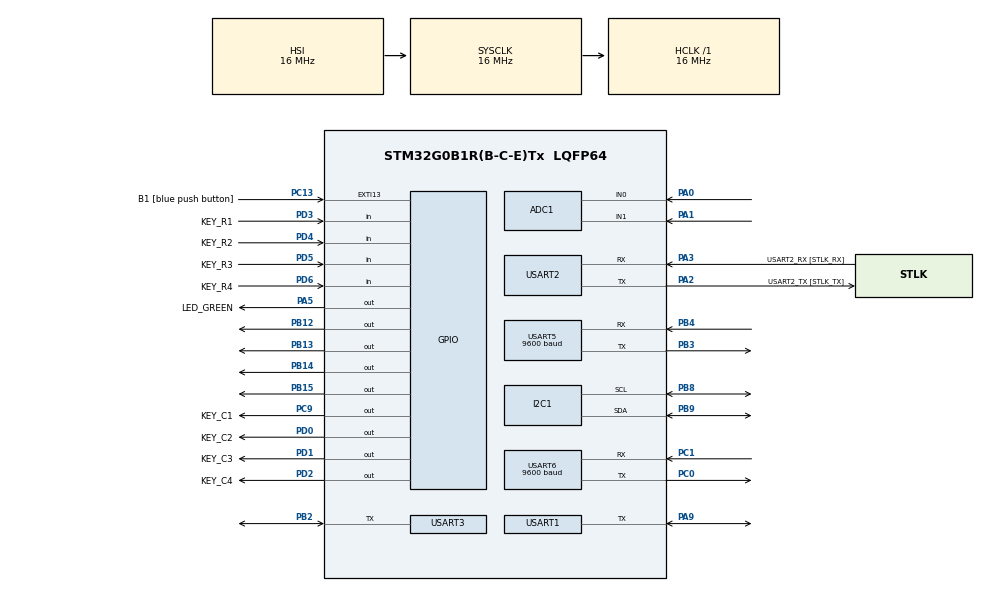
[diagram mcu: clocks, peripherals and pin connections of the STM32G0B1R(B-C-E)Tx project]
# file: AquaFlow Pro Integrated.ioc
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ADC1.Channel-0\#ChannelRegularConversion=ADC_CHANNEL_0
ADC1.Channel-1\#ChannelRegularConversion=ADC_CHANNEL_1
ADC1.ContinuousConvMode=ENABLE
ADC1.DMAContinuousRequests=ENABLE
ADC1.NbrOfConversion=2
ADC1.NbrOfConversionFlag=1
ADC1.Rank-0\#ChannelRegularConversion=1
ADC1.Rank-1\#ChannelRegularConversion=2
ADC1.SamplingTime-0\#ChannelRegularConversion=ADC_SAMPLINGTIME_COMMON_1
ADC1.SamplingTime-1\#ChannelRegularConversion=ADC_SAMPLINGTIME_COMMON_1
ADC1.SelectedChannel=ADC_CHANNEL_0|ADC_CHANNEL_1
ADC1.master=1
Dma.ADC1.0.Direction=DMA_PERIPH_TO_MEMORY
Dma.ADC1.0.EventEnable=DISABLE
Dma.ADC1.0.Instance=DMA1_Channel1
Dma.ADC1.0.MemDataAlignment=DMA_MDATAALIGN_HALFWORD
Dma.ADC1.0.MemInc=DMA_MINC_ENABLE
Dma.ADC1.0.Mode=DMA_CIRCULAR
Dma.ADC1.0.PeriphDataAlignment=DMA_PDATAALIGN_HALFWORD
Dma.ADC1.0.PeriphInc=DMA_PINC_DISABLE
Dma.ADC1.0.Polarity=HAL_DMAMUX_REQ_GEN_RISING
Dma.ADC1.0.Priority=DMA_PRIORITY_MEDIUM
Dma.ADC1.0.RequestNumber=1
Dma.ADC1.0.SignalID=NONE
Dma.ADC1.0.SyncEnable=DISABLE
Dma.ADC1.0.SyncPolarity=HAL_DMAMUX_SYNC_NO_EVENT
Dma.ADC1.0.SyncRequestNumber=1
Dma.ADC1.0.SyncSignalID=NONE
Dma.Request0=ADC1
I2C1.Speed=40
I2C1.Timing=0x005086FF
Mcu.Family=STM32G0
Mcu.Name=STM32G0B1R(B-C-E)Tx
Mcu.Package=LQFP64
NVIC.TIM2_IRQn=true\:0\:0\:false\:false\:true\:true\:true\:true
PA0.Mode=IN0
PA0.Signal=ADC1_IN0
PA1.Mode=IN1
PA1.Signal=ADC1_IN1
PA13.GPIO_Label=TMS
PA13.Mode=Serial_Wire
PA13.Signal=SYS_SWDIO
PA14-BOOT0.GPIO_Label=TCK
PA14-BOOT0.Mode=Serial_Wire
PA14-BOOT0.Signal=SYS_SWCLK
PA2.GPIO_Label=USART2_TX [STLK_TX]
PA2.Mode=Asynchronous
PA2.Signal=USART2_TX
PA3.GPIO_Label=USART2_RX [STLK_RX]
PA3.Mode=Asynchronous
PA3.Signal=USART2_RX
PA5.GPIO_Label=LED_GREEN
PA5.GPIO_Speed=GPIO_SPEED_FREQ_HIGH
PA5.Signal=GPIO_Output
PA9.Mode=Half_duplex(single_wire_mode)
PA9.Signal=USART1_TX
PB12.Signal=GPIO_Output
PB13.Signal=GPIO_Output
PB14.Signal=GPIO_Output
PB15.Signal=GPIO_Output
PB2.Mode=Half_duplex(single_wire_mode)
PB2.Signal=USART3_TX
PB3.Mode=Asynchronous
PB3.Signal=USART5_TX
PB4.Mode=Asynchronous
PB4.Signal=USART5_RX
PB8.Mode=I2C
PB8.Signal=I2C1_SCL
PB9.Mode=I2C
PB9.Signal=I2C1_SDA
PC0.Mode=Asynchronous
PC0.Signal=USART6_TX
PC1.Mode=Asynchronous
PC1.Signal=USART6_RX
PC13.GPIO_Label=B1 [blue push button]
PC13.Signal=GPXTI13
PC14-OSC32_IN\ (PC14).Mode=LSE-External-Oscillator
PC14-OSC32_IN\ (PC14).Signal=RCC_OSC32_IN
PC15-OSC32_OUT\ (PC15).Mode=LSE-External-Oscillator
PC15-OSC32_OUT\ (PC15).Signal=RCC_OSC32_OUT
PC9.GPIO_Label=KEY_C1
PC9.Signal=GPIO_Output
PD0.GPIO_Label=KEY_C2
PD0.Signal=GPIO_Output
PD1.GPIO_Label=KEY_C3
PD1.GPIO_PuPd=GPIO_NOPULL
PD1.Signal=GPIO_Output
PD2.GPIO_Label=KEY_C4
PD2.Signal=GPIO_Output
PD3.GPIO_Label=KEY_R1
PD3.GPIO_PuPd=GPIO_PULLDOWN
PD3.Signal=GPIO_Input
PD4.GPIO_Label=KEY_R2
PD4.GPIO_PuPd=GPIO_PULLDOWN
PD4.Signal=GPIO_Input
PD5.GPIO_Label=KEY_R3
PD5.GPIO_PuPd=GPIO_PULLDOWN
PD5.Signal=GPIO_Input
PD6.GPIO_Label=KEY_R4
PD6.GPIO_PuPd=GPIO_PULLDOWN
PD6.Signal=GPIO_Input
PF0-OSC_IN\ (PF0).GPIO_Label=MCO
PF0-OSC_IN\ (PF0).Mode=HSE-External-Clock-Source
PF0-OSC_IN\ (PF0).Signal=RCC_OSC_IN
ProjectManager.HeapSize=0x200
ProjectManager.StackSize=0x400
ProjectManager.TargetToolchain=STM32CubeIDE
RCC.AHBFreq_Value=16000000
RCC.CortexFreq_Value=16000000
RCC.EXTERNAL_CLOCK_VALUE=12288000
RCC.HCLKFreq_Value=16000000
RCC.HSE_VALUE=8000000
RCC.HSI48_VALUE=48000000
RCC.HSI_VALUE=16000000
RCC.SYSCLKFreq_VALUE=16000000
RCC.USBFreq_Value=48000000
RCC.VCOOutputFreq_Value=128000000
TIM2.Period=19
TIM2.Prescaler=799
USART1.VirtualMode-Half_duplex(single_wire_mode)=VM_ASYNC
USART2.VirtualMode-Asynchronous=VM_ASYNC
USART3.VirtualMode-Half_duplex(single_wire_mode)=VM_ASYNC
USART5.BaudRate=9600
USART5.VirtualMode-Asynchronous=VM_ASYNC
USART6.BaudRate=9600
USART6.VirtualMode-Asynchronous=VM_ASYNC
VP_SYS_VS_DBSignals.Mode=DisableDeadBatterySignals
VP_TIM2_VS_ClockSourceINT.Mode=Internal
board=NUCLEO-G0B1RE

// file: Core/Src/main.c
/* USER CODE BEGIN Header */
/**
 ******************************************************************************
 * @file           : main.c
 * @brief          : Main program body
 ******************************************************************************
 * @attention
 *
 * Copyright (c) 2026 STMicroelectronics.
 * All rights reserved.
 *
 * This software is licensed under terms that can be found in the LICENSE file
 * in the root directory of this software component.
 * If no LICENSE file comes with this software, it is provided AS-IS.
 *
 ******************************************************************************
 */
/* USER CODE END Header */
#include "main.h"

/* USER CODE BEGIN Includes */
#include "turbidity.h"
#include "DS18B20.h"
#include "DS3231(CLK).h"
#include "waterlevel_us.h"
#include "ph.h"
#include "state_machine.h"
#include <stdbool.h>
#include "mcp23017.h"
#include "state_logic.h"
#include "LCD.h"
#include "keypad.h"
/* USER CODE END Includes */

ADC_HandleTypeDef hadc1;
DMA_HandleTypeDef hdma_adc1;

I2C_HandleTypeDef hi2c1;

TIM_HandleTypeDef htim2;

UART_HandleTypeDef huart1;
UART_HandleTypeDef huart2;
UART_HandleTypeDef huart3;
UART_HandleTypeDef huart5;
UART_HandleTypeDef huart6;

/* USER CODE BEGIN PV */

uint16_t adc_buffer [2] = {0};
bool water_change_flag = 0; // High when a water change is in progress
bool lids = 1; // Lids on/off when high/low
bool res_full_flag = 0; // Indicates that the reservoir "is filled" (per the most recent sensor reading)
extern const uint8_t minimum_res_val;
// Create an instance of the SensorValues Struct, initialize to 0
SensorValues sensorvalues = {0};

// Create an instance of the Cooldown Struct, initialize to 0.
CooldownStruct cooldown = {0};
extern DateTimeStruct curr_date_time;
extern ScheduledWaterChange sched_date_time;
extern MCP23017_HandleTypeDef htd;

// INTERFACE:
#define DEG 0xDF
// Involving keypad
char debugKey = 0;
char readKey = 0;
uint16_t keypadIter = 0; // Keypad iterations (i.e. TIM2 interrupt callbacks): 1 kHz. To be used for rudimentary timing (e.g. rolled over to 0 after a given iteration amount)
uint8_t screenSwitch = 0; // Employed for manipulation by timing mechanisms

// Involving the navigation/entry menu
uint8_t menuState = 0; // thru 11 (% 12)
char* menuLabels[12] = { "TEMPHIGH", "TRBDTY", "PHLOW", "PHHIGH", "SCHEDULE", "START", "LIDS", "SETYY", "SETMM", "SETDD", "SETHR", "SETMIN" };
char inputBuf[2] = {'0','0'};
uint8_t inputNum; // For decoding of inputted data (characters)
uint8_t place;
bool inputError = 0;

// Values to be interfaced with by the user
extern OutOfRangeValues rangevalues;
uint8_t schedule = 10; // Offset in days. Accepted entries: two-digit values from 03 to 28 ("half a week" later to four weeks later)

bool manualStartFlag = 0;
bool menuExit = 0;

bool startup = 1; // Used only to update the schedule once on startup

// Reusable buffers for encoding of numerical data via sprintf; length of XX compensates for the presence of a null terminator. All numbers are unsigned
// The functions manipulating these properties are defined in state_machine.c for use across both files
char XX[3]; // For two-digit numbers: hours XX, minutes XX, temp XX.XX, turbidity XX, pH XX.XX
// To handle additional formatting needed for the XX.XX cases:
char XXdXX[5];
uint16_t XXXX;
/* USER CODE END PV */

void SystemClock_Config(void);
static void MX_GPIO_Init(void);
static void MX_DMA_Init(void);
static void MX_USART2_UART_Init(void);
static void MX_I2C1_Init(void);
static void MX_ADC1_Init(void);
static void MX_USART1_UART_Init(void);
static void MX_USART3_UART_Init(void);
static void MX_TIM2_Init(void);
static void MX_USART5_UART_Init(void);
static void MX_USART6_UART_Init(void);
/* USER CODE BEGIN PFP */
char blockForKey(char k, int delay);
void HAL_TIM_PeriodElapsedCallback(TIM_HandleTypeDef* htim);

/* USER CODE END PFP */

int main(void)
{

  /* MCU Configuration--------------------------------------------------------*/

  /* Reset of all peripherals, Initializes the Flash interface and the Systick. */
  HAL_Init();

  /* Configure the system clock */
  SystemClock_Config();

  /* Initialize all configured peripherals */
  MX_GPIO_Init();
  MX_DMA_Init();
  MX_USART2_UART_Init();
  MX_I2C1_Init();
  MX_ADC1_Init();
  MX_USART1_UART_Init();
  MX_USART3_UART_Init();
  MX_TIM2_Init();
  MX_USART5_UART_Init();
  MX_USART6_UART_Init();
  /* USER CODE BEGIN 2 */
	HAL_ADC_Start_DMA(&hadc1, (uint32_t*)adc_buffer, 2);
	// Initialize external I2C RTC
	DS3231_Init(&hi2c1);
	// Set RTC CLK rate
	DS3231_SetRateSelect(DS3231_1HZ);
	HAL_ADCEx_Calibration_Start(&hadc1);
	//DS3231_SetMonth(4);
	//DS3231_SetYear(2026);
	//DS3231_SetDate(2);
	//DS3231_SetHour(14);
	//DS3231_SetMinute(54);
	//DS3231_SetSecond(0);
	// Initalize external GPIO
	MCP23017_Init(&htd);
	// For Interface:
	Keypad_Init(0);
	HAL_TIM_Base_Start_IT(&htim2);

	LCD_Init();

	LCD_SendCommand(UNDERLINE_OFF);
	LCD_SendCommand(BLINK_OFF);
  /* USER CODE END 2 */

  /* Infinite loop */
	while (1)
	{

    /* USER CODE BEGIN 3 */
		// Update date and time
		update_date_time();
		if (startup) {
			update_schedule();
			startup = 0;
		}
		if (cooldown.cooldown_flag &&
				timer_expired(cooldown.cooldown_sod, 300u,
						curr_date_time.hours,
						curr_date_time.minutes,
						curr_date_time.seconds))
		{
			cooldown.cooldown_flag = 0;
		}
		// Handle state machine
		handle_water_state();

		// BEGIN INTERFACE CODE - navigation menu

		readKey = Keypad_ReadDebouncedKeyPress();
		if (!water_change_flag && readKey == 'A') { // Navigation menu entry (done only from the idle state)

			menuState = 0;

			do { // Start by displaying information "not unique to the case of menuState"

				LCD_SendCommand(CLEAR);

				LCD_WriteString("ENTRY:    ");
				LCD_WriteString(menuLabels[menuState]);
				switch (menuState) {
				case 5:
				case 6:
					break;
				default:
					LCD_SetCursor(20);
					LCD_WriteString("CURRENT");
					LCD_SetCursor(40);
					LCD_WriteString("NEW       00");
					break;
				}
				LCD_SetCursor(60);
				LCD_WriteString("NEXT      ");
				LCD_WriteString(menuLabels[(menuState + 1) % 12]);

				LCD_SetCursor(30);

				update_date_time(); // For time set items ("as recent as possible")

				switch (menuState) { // Unique information
				default: // 0 - TEMPHIGH
					num_to_char_2(rangevalues.max_temp); // Not a float (compared to temperatures from sensor readings)
					LCD_WriteString(XX);
					LCD_WriteCharacter(' ');
					LCD_WriteCharacter(DEG);
					LCD_WriteCharacter('F');
					break;
				case 1: // TRBDTY
					num_to_char_2(rangevalues.turbidity);
					LCD_WriteString(XX);
					LCD_WriteString(" NTU");
					break;
				case 2: // PHLOW
					num_to_char_4(rangevalues.low_ph);
					LCD_WriteString(XXdXX);
					break;
				case 3: // PHHIGH
					num_to_char_4(rangevalues.high_ph);
					LCD_WriteString(XXdXX);
					break;
				case 4: // SCHEDULE
					num_to_char_2(schedule);
					LCD_WriteString(XX);
					break;
				case 5: // START
					LCD_SetCursor(20);
					LCD_WriteString("0X)START  1X)UPDATE");
					LCD_SetCursor(40);
					LCD_WriteString("CHOICE    00");
					break;
				case 6: // LIDS
					LCD_SetCursor(20);
					LCD_WriteString((lids) ? "CURRENT   ON" : "CURRENT   OFF");
					LCD_SetCursor(40);
					LCD_WriteString("XX)TOGGLE 00");
					break;
				case 7: // SETYY
					num_to_char_2((uint8_t)curr_date_time.year);
					LCD_WriteString(XX);
					break;
				case 8: // SETMM
					num_to_char_2(curr_date_time.month);
					LCD_WriteString(XX);
					break;
				case 9: // SETDD
					num_to_char_2(curr_date_time.day);
					LCD_WriteString(XX);
					break;
				case 10: // SETHR
					num_to_char_2(curr_date_time.hours);
					LCD_WriteString(XX);
					break;
				case 11: // SETMIN
					num_to_char_2(curr_date_time.minutes);
					LCD_WriteString(XX);
					break;
				}
				LCD_SetCursor(50);
				LCD_SendCommand(UNDERLINE_ON);
				LCD_SendCommand(BLINK_ON);

				// Input sub-loop:
				// Repeatedly respond to numerics
				// "Try to accept" upon '#' (returning to above response upon a failure)
				// "Fully backspace" upon either '*' or an acceptance attempt
				// Leave upon 'A' (bail and navigate), 'B' (bail and back)
				// Ignore 'C', 'D'
				place = 0; // 0) 10s; 1) 1s
				inputBuf[0] = '0';
				inputBuf[1] = '0';
				do {

					readKey = blockForKey(0, 400);
					switch (readKey) {
					case 'A':
						break;
					case 'B':
						break;
					case 'C':
					case 'D':
						break;
					case '#':
						// Known: readKey is any one of the possibilities '0' thru '9', i.e. 0x30 thru 0x39
						inputNum = 10*(((uint8_t)inputBuf[0]) - 0x30) + (((uint8_t)inputBuf[1]) - 0x30);

						// Determine whether to throw error for unacceptable value (decided per entry item);
						// each case should necessarily reassign inputError (to either 0 or 1)
						switch (menuState) {
						default:
							inputError = (inputNum < 50);
							if (!inputError) rangevalues.max_temp = inputNum;
							break;
						case 1:
							inputError = (inputNum < 5 /*|| inputNum > 100*/);
							if (!inputError) rangevalues.turbidity = inputNum;
							break;
						case 2:
							inputError = (inputNum < 50 || inputNum > 70 || (uint8_t)(rangevalues.high_ph*10) - inputNum < 5);
							if (!inputError) rangevalues.low_ph = (float)inputNum/10;
							break;
						case 3:
							inputError = (inputNum < 70 || inputNum > 85 || inputNum - (uint8_t)(rangevalues.low_ph*10) < 5);
							if (!inputError) rangevalues.high_ph = (float)inputNum/10;
							break;
						case 4:
							inputError = (inputNum < 3 || inputNum > 28);
							if (!inputError) schedule = inputNum;
							break;
						case 5: // Unlike the other cases, attempting to start a manual water change should beget an immediate exit from the menu; do so via manipulation of readKey
							inputError = 0;
							if (inputBuf[0] == '0') {
								manualStartFlag = 1;
								readKey = 'B';
							}
							else if (inputBuf[0] == '1') {
								// Update scheduled change
								update_schedule();
							}
							else inputError = 1;
							break;
						case 6: // Time set: the clock accepts "wrong" overwritten dates, but will not reach them "on its own;"
								// Assume that the user sets all fields in succession as listed in the menu, removing the possibility of erroneous settings
								// (Possibly failing in proximity to special cases, e.g. at the turn of a month)
							lids = !(lids); // No errors possible in the toggling of a flag
							if (lids) { // In the case that the lids ARE PUT BACK ON, a reservoir level check is done right away
								read_water_level(&sensorvalues.waterlevel_res, &sensorvalues.waterlevel_tank);
								res_full_flag = (sensorvalues.waterlevel_res < minimum_res_val);
							}
							break;
						case 7:
							DS3231_SetYear((uint16_t)inputNum); // No errors possible for "years" 00 thru 99
							update_schedule();
							break;
						case 8:
							// Constrain to months 01 thru 12
							inputError = (inputNum < 1 || inputNum > 12);
							if (!inputError) {
								DS3231_SetMonth(inputNum);
								update_schedule();
							}
							break;
						case 9:
							// Constrain to range of days 01 thru 31 (31 as the "highest possible choice")
							inputError = (inputNum < 1 || inputNum > 31);
							if (!inputError) {
								DS3231_SetDate(inputNum);
								update_schedule();
							}
							break;
						case 10:
							// For convenience, leave military formatting
							// Constrain to hours 0-23
							inputError = (inputNum > 23);
							if (!inputError) {
								DS3231_SetHour(inputNum);
								update_schedule();
							}
							break;
						case 11:
							// Constrain to minutes 0-59
							inputError = (inputNum > 59);
							if (!inputError) {
								DS3231_SetMinute(inputNum);
								DS3231_SetSecond(0); // Without second specification, at least allow specification to the "start of the minute"
								update_schedule();
							}
							break;
						}

						if (readKey == 'B') break; // "Immediate exit"

						if (inputError) {
							LCD_SetCursor(40);
							LCD_WriteString("RETRY!");
						}
						else { // Manipulate readKey for "manual bail-out" to go back through the menu for the same state, writing the newly assigned value to the screen's "CURRENT" field
							menuState = (menuState + 11) % 12; // "Pre-undo" forwards shift in menu
							readKey = 'A';
							break;
						}

						// "Unaccepted entry" leads to a "full backspace" as in a '*' press - no break
					case '*':
						inputBuf[0] = '0';
						inputBuf[1] = '0';
						place = 0;
						LCD_SetCursor(50);
						LCD_WriteString("00");
						LCD_SetCursor(50);
						break;
					default: // 0 thru 9
						inputBuf[place] = readKey;
						place = 1;
						LCD_WriteCharacter(readKey);
						LCD_SetCursor(50 + place);
						break;
					}

				} while (readKey != 'A' && readKey != 'B');

				if (readKey == 'B') {
					LCD_SendCommand(UNDERLINE_OFF);
					LCD_SendCommand(BLINK_OFF);
					menuExit = 1;
				}
				else menuState = (menuState + 1) % 12;

			} while (readKey != 'B');

		}

	}
  /* USER CODE END 3 */
}

void SystemClock_Config(void)
{
  RCC_OscInitTypeDef RCC_OscInitStruct = {0};
  RCC_ClkInitTypeDef RCC_ClkInitStruct = {0};

  /** Configure the main internal regulator output voltage
  */
  HAL_PWREx_ControlVoltageScaling(PWR_REGULATOR_VOLTAGE_SCALE1);

  /** Initializes the RCC Oscillators according to the specified parameters
  * in the RCC_OscInitTypeDef structure.
  */
  RCC_OscInitStruct.OscillatorType = RCC_OSCILLATORTYPE_HSI;
  RCC_OscInitStruct.HSIState = RCC_HSI_ON;
  RCC_OscInitStruct.HSIDiv = RCC_HSI_DIV1;
  RCC_OscInitStruct.HSICalibrationValue = RCC_HSICALIBRATION_DEFAULT;
  RCC_OscInitStruct.PLL.PLLState = RCC_PLL_NONE;
  if (HAL_RCC_OscConfig(&RCC_OscInitStruct) != HAL_OK)
  {
    Error_Handler();
  }

  /** Initializes the CPU, AHB and APB buses clocks
  */
  RCC_ClkInitStruct.ClockType = RCC_CLOCKTYPE_HCLK|RCC_CLOCKTYPE_SYSCLK
                              |RCC_CLOCKTYPE_PCLK1;
  RCC_ClkInitStruct.SYSCLKSource = RCC_SYSCLKSOURCE_HSI;
  RCC_ClkInitStruct.AHBCLKDivider = RCC_SYSCLK_DIV1;
  RCC_ClkInitStruct.APB1CLKDivider = RCC_HCLK_DIV1;

  if (HAL_RCC_ClockConfig(&RCC_ClkInitStruct, FLASH_LATENCY_0) != HAL_OK)
  {
    Error_Handler();
  }
}

static void MX_ADC1_Init(void)
{

  ADC_ChannelConfTypeDef sConfig = {0};

  /** Configure the global features of the ADC (Clock, Resolution, Data Alignment and number of conversion)
  */
  hadc1.Instance = ADC1;
  hadc1.Init.ClockPrescaler = ADC_CLOCK_SYNC_PCLK_DIV2;
  hadc1.Init.Resolution = ADC_RESOLUTION_12B;
  hadc1.Init.DataAlign = ADC_DATAALIGN_RIGHT;
  hadc1.Init.ScanConvMode = ADC_SCAN_ENABLE;
  hadc1.Init.EOCSelection = ADC_EOC_SINGLE_CONV;
  hadc1.Init.LowPowerAutoWait = DISABLE;
  hadc1.Init.LowPowerAutoPowerOff = DISABLE;
  hadc1.Init.ContinuousConvMode = ENABLE;
  hadc1.Init.NbrOfConversion = 2;
  hadc1.Init.ExternalTrigConv = ADC_SOFTWARE_START;
  hadc1.Init.ExternalTrigConvEdge = ADC_EXTERNALTRIGCONVEDGE_NONE;
  hadc1.Init.DMAContinuousRequests = ENABLE;
  hadc1.Init.Overrun = ADC_OVR_DATA_PRESERVED;
  hadc1.Init.SamplingTimeCommon1 = ADC_SAMPLETIME_1CYCLE_5;
  hadc1.Init.SamplingTimeCommon2 = ADC_SAMPLETIME_1CYCLE_5;
  hadc1.Init.OversamplingMode = DISABLE;
  hadc1.Init.TriggerFrequencyMode = ADC_TRIGGER_FREQ_HIGH;
  if (HAL_ADC_Init(&hadc1) != HAL_OK)
  {
    Error_Handler();
  }

  /** Configure Regular Channel
  */
  sConfig.Channel = ADC_CHANNEL_0;
  sConfig.Rank = ADC_REGULAR_RANK_1;
  sConfig.SamplingTime = ADC_SAMPLINGTIME_COMMON_1;
  if (HAL_ADC_ConfigChannel(&hadc1, &sConfig) != HAL_OK)
  {
    Error_Handler();
  }

  /** Configure Regular Channel
  */
  sConfig.Channel = ADC_CHANNEL_1;
  sConfig.Rank = ADC_REGULAR_RANK_2;
  if (HAL_ADC_ConfigChannel(&hadc1, &sConfig) != HAL_OK)
  {
    Error_Handler();
  }

}

static void MX_I2C1_Init(void)
{

  hi2c1.Instance = I2C1;
  hi2c1.Init.Timing = 0x005086FF;
  hi2c1.Init.OwnAddress1 = 0;
  hi2c1.Init.AddressingMode = I2C_ADDRESSINGMODE_7BIT;
  hi2c1.Init.DualAddressMode = I2C_DUALADDRESS_DISABLE;
  hi2c1.Init.OwnAddress2 = 0;
  hi2c1.Init.OwnAddress2Masks = I2C_OA2_NOMASK;
  hi2c1.Init.GeneralCallMode = I2C_GENERALCALL_DISABLE;
  hi2c1.Init.NoStretchMode = I2C_NOSTRETCH_DISABLE;
  if (HAL_I2C_Init(&hi2c1) != HAL_OK)
  {
    Error_Handler();
  }

  /** Configure Analogue filter
  */
  if (HAL_I2CEx_ConfigAnalogFilter(&hi2c1, I2C_ANALOGFILTER_ENABLE) != HAL_OK)
  {
    Error_Handler();
  }

  /** Configure Digital filter
  */
  if (HAL_I2CEx_ConfigDigitalFilter(&hi2c1, 0) != HAL_OK)
  {
    Error_Handler();
  }

}

static void MX_TIM2_Init(void)
{

  TIM_ClockConfigTypeDef sClockSourceConfig = {0};
  TIM_MasterConfigTypeDef sMasterConfig = {0};

  htim2.Instance = TIM2;
  htim2.Init.Prescaler = 799;
  htim2.Init.CounterMode = TIM_COUNTERMODE_UP;
  htim2.Init.Period = 19;
  htim2.Init.ClockDivision = TIM_CLOCKDIVISION_DIV1;
  htim2.Init.AutoReloadPreload = TIM_AUTORELOAD_PRELOAD_DISABLE;
  if (HAL_TIM_Base_Init(&htim2) != HAL_OK)
  {
    Error_Handler();
  }
  sClockSourceConfig.ClockSource = TIM_CLOCKSOURCE_INTERNAL;
  if (HAL_TIM_ConfigClockSource(&htim2, &sClockSourceConfig) != HAL_OK)
  {
    Error_Handler();
  }
  sMasterConfig.MasterOutputTrigger = TIM_TRGO_RESET;
  sMasterConfig.MasterSlaveMode = TIM_MASTERSLAVEMODE_DISABLE;
  if (HAL_TIMEx_MasterConfigSynchronization(&htim2, &sMasterConfig) != HAL_OK)
  {
    Error_Handler();
  }

}

static void MX_USART1_UART_Init(void)
{

  huart1.Instance = USART1;
  huart1.Init.BaudRate = 115200;
  huart1.Init.WordLength = UART_WORDLENGTH_8B;
  huart1.Init.StopBits = UART_STOPBITS_1;
  huart1.Init.Parity = UART_PARITY_NONE;
  huart1.Init.Mode = UART_MODE_TX_RX;
  huart1.Init.HwFlowCtl = UART_HWCONTROL_NONE;
  huart1.Init.OverSampling = UART_OVERSAMPLING_16;
  huart1.Init.OneBitSampling = UART_ONE_BIT_SAMPLE_DISABLE;
  huart1.Init.ClockPrescaler = UART_PRESCALER_DIV1;
  huart1.AdvancedInit.AdvFeatureInit = UART_ADVFEATURE_NO_INIT;
  if (HAL_HalfDuplex_Init(&huart1) != HAL_OK)
  {
    Error_Handler();
  }
  if (HAL_UARTEx_SetTxFifoThreshold(&huart1, UART_TXFIFO_THRESHOLD_1_8) != HAL_OK)
  {
    Error_Handler();
  }
  if (HAL_UARTEx_SetRxFifoThreshold(&huart1, UART_RXFIFO_THRESHOLD_1_8) != HAL_OK)
  {
    Error_Handler();
  }
  if (HAL_UARTEx_DisableFifoMode(&huart1) != HAL_OK)
  {
    Error_Handler();
  }

}

static void MX_USART2_UART_Init(void)
{

  huart2.Instance = USART2;
  huart2.Init.BaudRate = 115200;
  huart2.Init.WordLength = UART_WORDLENGTH_8B;
  huart2.Init.StopBits = UART_STOPBITS_1;
  huart2.Init.Parity = UART_PARITY_NONE;
  huart2.Init.Mode = UART_MODE_TX_RX;
  huart2.Init.HwFlowCtl = UART_HWCONTROL_NONE;
  huart2.Init.OverSampling = UART_OVERSAMPLING_16;
  huart2.Init.OneBitSampling = UART_ONE_BIT_SAMPLE_DISABLE;
  huart2.Init.ClockPrescaler = UART_PRESCALER_DIV1;
  huart2.AdvancedInit.AdvFeatureInit = UART_ADVFEATURE_NO_INIT;
  if (HAL_UART_Init(&huart2) != HAL_OK)
  {
    Error_Handler();
  }
  if (HAL_UARTEx_SetTxFifoThreshold(&huart2, UART_TXFIFO_THRESHOLD_1_8) != HAL_OK)
  {
    Error_Handler();
  }
  if (HAL_UARTEx_SetRxFifoThreshold(&huart2, UART_RXFIFO_THRESHOLD_1_8) != HAL_OK)
  {
    Error_Handler();
  }
  if (HAL_UARTEx_DisableFifoMode(&huart2) != HAL_OK)
  {
    Error_Handler();
  }

}

static void MX_USART3_UART_Init(void)
{

  huart3.Instance = USART3;
  huart3.Init.BaudRate = 115200;
  huart3.Init.WordLength = UART_WORDLENGTH_8B;
  huart3.Init.StopBits = UART_STOPBITS_1;
  huart3.Init.Parity = UART_PARITY_NONE;
  huart3.Init.Mode = UART_MODE_TX_RX;
  huart3.Init.HwFlowCtl = UART_HWCONTROL_NONE;
  huart3.Init.OverSampling = UART_OVERSAMPLING_16;
  huart3.Init.OneBitSampling = UART_ONE_BIT_SAMPLE_DISABLE;
  huart3.Init.ClockPrescaler = UART_PRESCALER_DIV1;
  huart3.AdvancedInit.AdvFeatureInit = UART_ADVFEATURE_NO_INIT;
  if (HAL_HalfDuplex_Init(&huart3) != HAL_OK)
  {
    Error_Handler();
  }
  if (HAL_UARTEx_SetTxFifoThreshold(&huart3, UART_TXFIFO_THRESHOLD_1_8) != HAL_OK)
  {
    Error_Handler();
  }
  if (HAL_UARTEx_SetRxFifoThreshold(&huart3, UART_RXFIFO_THRESHOLD_1_8) != HAL_OK)
  {
    Error_Handler();
  }
  if (HAL_UARTEx_DisableFifoMode(&huart3) != HAL_OK)
  {
    Error_Handler();
  }

}

static void MX_USART5_UART_Init(void)
{

  huart5.Instance = USART5;
  huart5.Init.BaudRate = 9600;
  huart5.Init.WordLength = UART_WORDLENGTH_8B;
  huart5.Init.StopBits = UART_STOPBITS_1;
  huart5.Init.Parity = UART_PARITY_NONE;
  huart5.Init.Mode = UART_MODE_TX_RX;
  huart5.Init.HwFlowCtl = UART_HWCONTROL_NONE;
  huart5.Init.OverSampling = UART_OVERSAMPLING_16;
  huart5.Init.OneBitSampling = UART_ONE_BIT_SAMPLE_DISABLE;
  huart5.Init.ClockPrescaler = UART_PRESCALER_DIV1;
  huart5.AdvancedInit.AdvFeatureInit = UART_ADVFEATURE_NO_INIT;
  if (HAL_UART_Init(&huart5) != HAL_OK)
  {
    Error_Handler();
  }

}

static void MX_USART6_UART_Init(void)
{

  huart6.Instance = USART6;
  huart6.Init.BaudRate = 9600;
  huart6.Init.WordLength = UART_WORDLENGTH_8B;
  huart6.Init.StopBits = UART_STOPBITS_1;
  huart6.Init.Parity = UART_PARITY_NONE;
  huart6.Init.Mode = UART_MODE_TX_RX;
  huart6.Init.HwFlowCtl = UART_HWCONTROL_NONE;
  huart6.Init.OverSampling = UART_OVERSAMPLING_16;
  huart6.Init.OneBitSampling = UART_ONE_BIT_SAMPLE_DISABLE;
  huart6.Init.ClockPrescaler = UART_PRESCALER_DIV1;
  huart6.AdvancedInit.AdvFeatureInit = UART_ADVFEATURE_NO_INIT;
  if (HAL_UART_Init(&huart6) != HAL_OK)
  {
    Error_Handler();
  }

}

static void MX_DMA_Init(void)
{

  /* DMA controller clock enable */
  __HAL_RCC_DMA1_CLK_ENABLE();

}

static void MX_GPIO_Init(void)
{
  GPIO_InitTypeDef GPIO_InitStruct = {0};

  /* GPIO Ports Clock Enable */
  __HAL_RCC_GPIOC_CLK_ENABLE();
  __HAL_RCC_GPIOF_CLK_ENABLE();
  __HAL_RCC_GPIOA_CLK_ENABLE();
  __HAL_RCC_GPIOB_CLK_ENABLE();
  __HAL_RCC_GPIOD_CLK_ENABLE();

  /*Configure GPIO pin Output Level */
  HAL_GPIO_WritePin(LED_GREEN_GPIO_Port, LED_GREEN_Pin, GPIO_PIN_RESET);

  /*Configure GPIO pin Output Level */
  HAL_GPIO_WritePin(GPIOB, GPIO_PIN_12|GPIO_PIN_13|GPIO_PIN_14|GPIO_PIN_15, GPIO_PIN_RESET);

  /*Configure GPIO pin Output Level */
  HAL_GPIO_WritePin(KEY_C1_GPIO_Port, KEY_C1_Pin, GPIO_PIN_RESET);

  /*Configure GPIO pin Output Level */
  HAL_GPIO_WritePin(GPIOD, KEY_C2_Pin|KEY_C3_Pin|KEY_C4_Pin, GPIO_PIN_RESET);

  /*Configure GPIO pin : B1_Pin */
  GPIO_InitStruct.Pin = B1_Pin;
  GPIO_InitStruct.Mode = GPIO_MODE_IT_RISING;
  GPIO_InitStruct.Pull = GPIO_NOPULL;
  HAL_GPIO_Init(B1_GPIO_Port, &GPIO_InitStruct);

  /*Configure GPIO pin : LED_GREEN_Pin */
  GPIO_InitStruct.Pin = LED_GREEN_Pin;
  GPIO_InitStruct.Mode = GPIO_MODE_OUTPUT_PP;
  GPIO_InitStruct.Pull = GPIO_NOPULL;
  GPIO_InitStruct.Speed = GPIO_SPEED_FREQ_HIGH;
  HAL_GPIO_Init(LED_GREEN_GPIO_Port, &GPIO_InitStruct);

  /*Configure GPIO pins : PB12 PB13 PB14 PB15 */
  GPIO_InitStruct.Pin = GPIO_PIN_12|GPIO_PIN_13|GPIO_PIN_14|GPIO_PIN_15;
  GPIO_InitStruct.Mode = GPIO_MODE_OUTPUT_PP;
  GPIO_InitStruct.Pull = GPIO_NOPULL;
  GPIO_InitStruct.Speed = GPIO_SPEED_FREQ_LOW;
  HAL_GPIO_Init(GPIOB, &GPIO_InitStruct);

  /*Configure GPIO pin : KEY_C1_Pin */
  GPIO_InitStruct.Pin = KEY_C1_Pin;
  GPIO_InitStruct.Mode = GPIO_MODE_OUTPUT_PP;
  GPIO_InitStruct.Pull = GPIO_NOPULL;
  GPIO_InitStruct.Speed = GPIO_SPEED_FREQ_LOW;
  HAL_GPIO_Init(KEY_C1_GPIO_Port, &GPIO_InitStruct);

  /*Configure GPIO pins : KEY_C2_Pin KEY_C3_Pin KEY_C4_Pin */
  GPIO_InitStruct.Pin = KEY_C2_Pin|KEY_C3_Pin|KEY_C4_Pin;
  GPIO_InitStruct.Mode = GPIO_MODE_OUTPUT_PP;
  GPIO_InitStruct.Pull = GPIO_NOPULL;
  GPIO_InitStruct.Speed = GPIO_SPEED_FREQ_LOW;
  HAL_GPIO_Init(GPIOD, &GPIO_InitStruct);

  /*Configure GPIO pins : KEY_R1_Pin KEY_R2_Pin KEY_R3_Pin KEY_R4_Pin */
  GPIO_InitStruct.Pin = KEY_R1_Pin|KEY_R2_Pin|KEY_R3_Pin|KEY_R4_Pin;
  GPIO_InitStruct.Mode = GPIO_MODE_INPUT;
  GPIO_InitStruct.Pull = GPIO_PULLDOWN;
  HAL_GPIO_Init(GPIOD, &GPIO_InitStruct);

}

/* USER CODE BEGIN 4 */
char blockForKey(char key, int delay)
{
	HAL_Delay(delay);
	char k = 0;
	if (key)
		while (k != key) k = Keypad_ReadDebouncedKeyPress();
	else
		while (k == 0) k = Keypad_ReadDebouncedKeyPress();
	return k;
}

void HAL_TIM_PeriodElapsedCallback(TIM_HandleTypeDef* htim)
{
	if (htim->Instance == TIM2)
	{
		Keypad_Iterate();
		debugKey = Keypad_DebugReadDebouncedKeyPress();
		keypadIter++;
	}
}
/* USER CODE END 4 */

void Error_Handler(void)
{
	__disable_irq();
	while (1)
	{
	}
}
